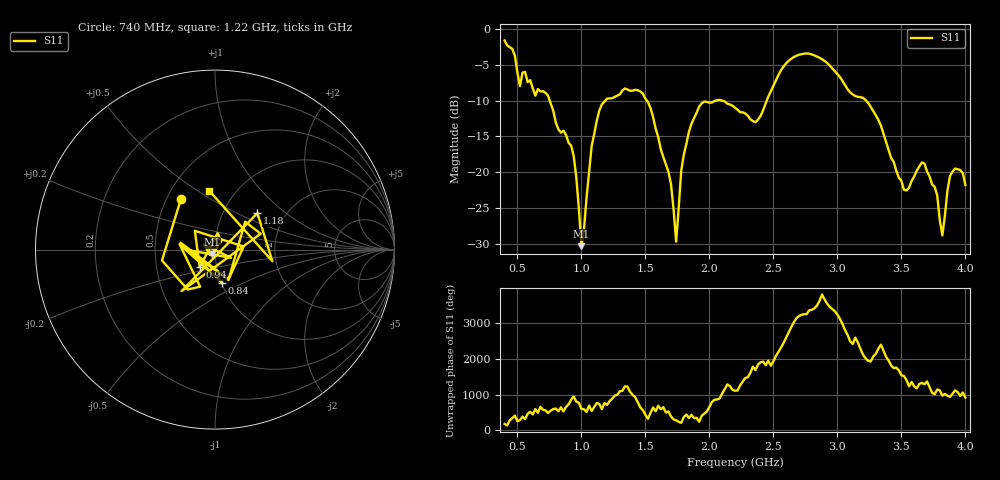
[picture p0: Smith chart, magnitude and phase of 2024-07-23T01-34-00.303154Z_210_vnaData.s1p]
!Created with skrf (http://scikit-rf.org).
# Hz S RI R 50.0
!freq ReS11 ImS11
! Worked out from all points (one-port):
!   181 points, 400 MHz to 4 GHz, reference 50 ohm
!   lowest |S11| = -30.3 dB at 1 GHz (marker M1), VSWR 1.06, Z = 48.3 - j2.52 ohm
!   |S11| at or under -10 dB: 752.4 MHz to 1.187 GHz (434.2 MHz wide, 44.8 % of centre); 1.511 GHz to 2.051 GHz (539.7 MHz wide, 30.3 % of centre); 3.224 GHz to end of sweep (the widest 3 of 4)
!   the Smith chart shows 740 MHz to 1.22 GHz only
!   S11 on the Smith chart (normalised r, x): 740 MHz: 0.59, +0.38; 840 MHz: 1.01, -0.39; 940 MHz: 0.83, -0.16; 1.18 GHz: 1.45, +0.65; 1.22 GHz: 0.76, +0.56
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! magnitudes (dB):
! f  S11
! 400 MHz  -1.6
! 520 MHz  -8.0
! 740 MHz  -9.3
! 840 MHz  -14.5
! 860 MHz  -14.2
! 940 MHz  -17.7
! 1 GHz  -30.3
! 1.08 GHz  -16.3
! 1.18 GHz  -10.1
! 1.22 GHz  -9.7
! 1.3 GHz  -9.1
! 1.52 GHz  -10.2
! 1.7 GHz  -21.6
! 1.74 GHz  -29.6
! 1.76 GHz  -25.0
! 1.8 GHz  -17.5
! 1.92 GHz  -10.8
! 2.2 GHz  -11.0
! 2.36 GHz  -13.0
! 2.66 GHz  -3.9
! 3.1 GHz  -8.9
! 3.28 GHz  -11.4
! 3.56 GHz  -22.1
! 3.68 GHz  -18.8
! 3.78 GHz  -23.2
! 3.82 GHz  -28.8
! 3.88 GHz  -20.5
! 4 GHz  -21.7
